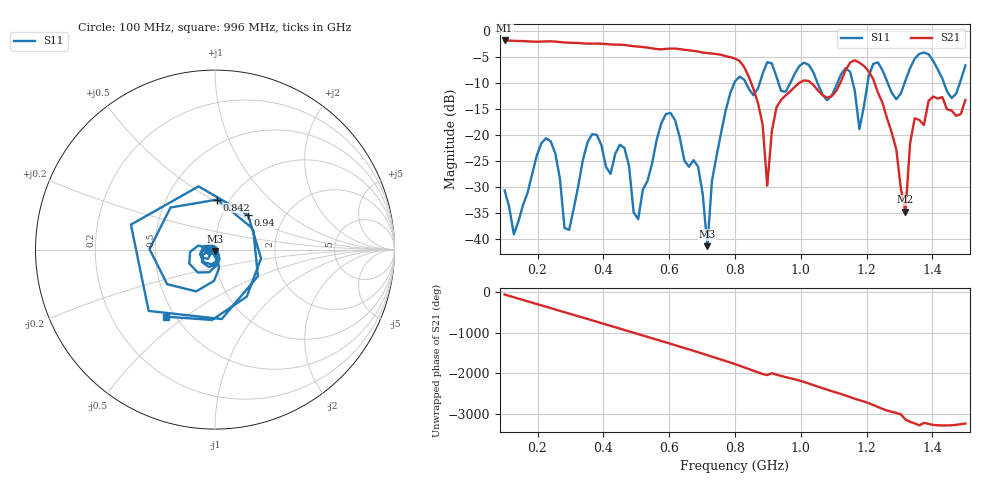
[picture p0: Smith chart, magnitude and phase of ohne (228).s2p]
! NanoVNA-App
! Date: 2025-09-25 14:22:34
! Start: 100MHz Stop: 1,5GHz Points: 101
! S-Parameter data: F S11 S21 S12 S22
# Hz S RI R 50
!  Frequency  S11_Real  S11_Imag  S21_Real  S21_Imag  S12_Real  S12_Imag  S22_Real  S22_Imag
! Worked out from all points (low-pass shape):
!   101 points, 100 MHz to 1.5 GHz, reference 50 ohm
!   highest |S21| = -1.79 dB at 100 MHz (marker M1); lowest = -34.8 dB at 1.318 GHz (marker M2)
!   |S21| within 3 dB of the highest: start of sweep to 771.3 MHz
!   lowest |S11| = -41.4 dB at 716 MHz (marker M3), VSWR 1.02, Z = 49.8 - j0.832 ohm
!   |S11| at or under -10 dB: start of sweep to 797.8 MHz; 833.3 MHz to 875.1 MHz (41.78 MHz wide, 4.89 % of centre); 1.051 GHz to 1.111 GHz (60.02 MHz wide, 5.55 % of centre) (the widest 3 of 7)
!   S12 and S22 are empty: the file has one direction only
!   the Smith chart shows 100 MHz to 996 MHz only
!   S11 on the Smith chart (normalised r, x): 100 MHz: 0.94, -0.01; 842 MHz: 0.88, +0.53; 940 MHz: 1.32, +0.55; 996 MHz: 0.44, -0.42
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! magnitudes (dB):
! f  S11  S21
! 100 MHz  -30.6  -1.8
! 128 MHz  -39.1  -1.9
! 226 MHz  -20.6  -2.0
! 296 MHz  -38.2  -2.2
! 338 MHz  -24.7  -2.4
! 464 MHz  -22.5  -2.7
! 506 MHz  -36.2  -3.0
! 576 MHz  -17.7  -3.5
! 688 MHz  -26.1  -3.9
! 716 MHz  -41.4  -4.2
! 800 MHz  -9.7  -5.3
! 842 MHz  -11.1  -8.8
! 898 MHz  -6.0  -29.7
! 940 MHz  -11.5  -13.2
! 996 MHz  -6.7  -9.9
! 1.038 GHz  -7.9  -10.4
! 1.178 GHz  -18.9  -6.1
! 1.22 GHz  -6.3  -9.2
! 1.276 GHz  -11.9  -19.5
! 1.318 GHz  -9.5  -34.8
! 1.346 GHz  -5.3  -16.8
! 1.5 GHz  -6.6  -13.2
